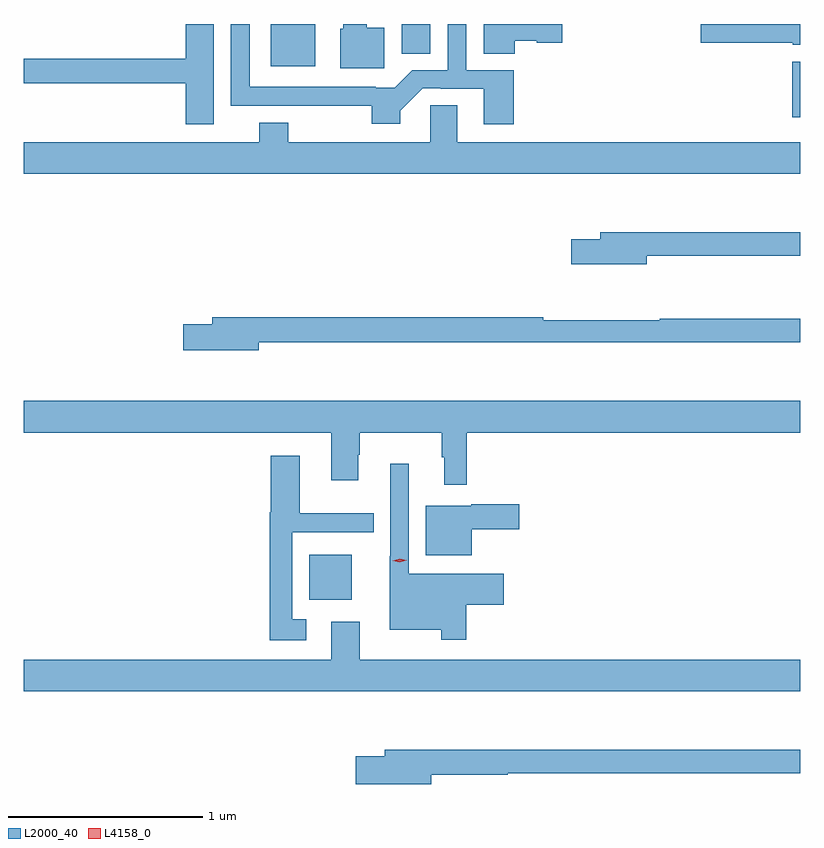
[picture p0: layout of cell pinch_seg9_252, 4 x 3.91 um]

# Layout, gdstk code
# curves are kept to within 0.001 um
import gdstk
lib = gdstk.Library(unit=1e-6, precision=1e-09)
def R(c, l, rs):  # rectangles x0, y0, x1, y1
    for r in rs: c.add(gdstk.rectangle(r[:2], r[2:], *l))
def P(c, l, *ps):  # polygons
    for p in ps: c.add(gdstk.Polygon(p, *l))
L2000_40 = (2000, 40)
L4158_0 = (4158, 0)

pinch_seg9_252 = lib.new_cell('pinch_seg9_252')
R(pinch_seg9_252, L2000_40, [(491.438,1231.523,491.656,1231.756), (493.925,1234.008,493.966,1234.294), (491.24,1234.271,491.467,1234.488), (491.912,1234.336,492.061,1234.488)])
P(pinch_seg9_252, L2000_40, [(491.824,1234.468),(491.734,1234.468),(491.734,1234.488),(491.612,1234.488),(491.612,1234.464),(491.597,1234.464),(491.597,1234.259),(491.824,1234.259)],
  [(493.966,1234.488),(493.452,1234.488),(493.452,1234.391),(493.926,1234.391),(493.926,1234.382),(493.966,1234.382)],
  [(490.945,1234.488),(490.802,1234.488),(490.802,1234.31),(489.966,1234.31),(489.966,1234.182),(490.802,1234.182),(490.802,1233.972),(490.945,1233.972)],
  [(492.496,1234.403),(492.609,1234.403),(492.609,1234.391),(492.739,1234.391),(492.739,1234.488),(492.335,1234.488),(492.335,1234.336),(492.496,1234.336)],
  [(492.491,1234.251),(492.246,1234.251),(492.246,1234.488),(492.15,1234.488),(492.15,1234.251),(491.966,1234.251),(491.876,1234.161),(491.78,1234.161),(491.78,1234.164),(491.13,1234.164),(491.13,1234.488),(491.034,1234.488),(491.034,1234.068),(491.758,1234.067),(491.758,1233.974),(491.905,1233.974),(491.905,1234.042),(492.021,1234.158),(492.115,1234.158),(492.115,1234.155),(492.335,1234.155),(492.335,1233.972),(492.491,1233.972)],
  [(493.966,1233.88),(492.199,1233.88),(492.199,1234.07),(492.06,1234.07),(492.06,1233.88),(491.328,1233.88),(491.328,1233.979),(491.18,1233.979),(491.18,1233.88),(489.966,1233.88),(489.966,1233.716),(493.966,1233.716)],
  [(493.174,1233.294),(493.966,1233.294),(493.966,1233.415),(492.935,1233.415),(492.935,1233.381),(492.786,1233.381),(492.786,1233.251),(493.174,1233.251)],
  [(491.176,1232.85),(493.966,1232.85),(493.966,1232.971),(493.241,1232.971),(493.241,1232.963),(492.641,1232.963),(492.641,1232.978),(490.937,1232.978),(490.937,1232.942),(490.788,1232.942),(490.788,1232.807),(491.176,1232.807)],
  [(492.248,1232.384),(493.966,1232.384),(493.966,1232.548),(489.966,1232.548),(489.966,1232.384),(491.549,1232.384),(491.549,1232.139),(491.689,1232.139),(491.689,1232.27),(491.697,1232.27),(491.697,1232.384),(492.12,1232.384),(492.12,1232.258),(492.131,1232.258),(492.131,1232.115),(492.248,1232.115)],
  [(491.422,1231.423),(491.349,1231.423),(491.349,1231.872),(491.768,1231.872),(491.768,1231.969),(491.389,1231.969),(491.389,1232.266),(491.24,1232.266),(491.24,1231.975),(491.233,1231.975),(491.233,1231.314),(491.422,1231.314)],
  [(492.245,1231.499),(492.439,1231.499),(492.439,1231.657),(491.949,1231.657),(491.949,1232.224),(491.853,1232.224),(491.853,1231.747),(491.852,1231.747),(491.852,1231.37),(492.117,1231.37),(492.117,1231.317),(492.245,1231.317)],
  [(492.274,1231.886),(492.517,1231.886),(492.517,1232.016),(492.27,1232.016),(492.27,1232.008),(492.038,1232.008),(492.038,1231.754),(492.274,1231.754)],
  [(493.966,1231.216),(491.698,1231.216),(491.698,1231.411),(491.549,1231.411),(491.549,1231.216),(489.966,1231.216),(489.966,1231.052),(493.966,1231.052)],
  [(492.064,1230.622),(492.46,1230.622),(492.46,1230.63),(493.966,1230.63),(493.966,1230.751),(491.825,1230.751),(491.825,1230.717),(491.676,1230.717),(491.676,1230.575),(492.064,1230.575)])
P(pinch_seg9_252, L4158_0, [(491.904,1231.716),(491.868,1231.724),(491.868,1231.725),(491.868,1231.725),(491.903,1231.736),(491.939,1231.728),(491.939,1231.727),(491.939,1231.727)])

lib.write_gds('pinch_seg9_252.gds')
